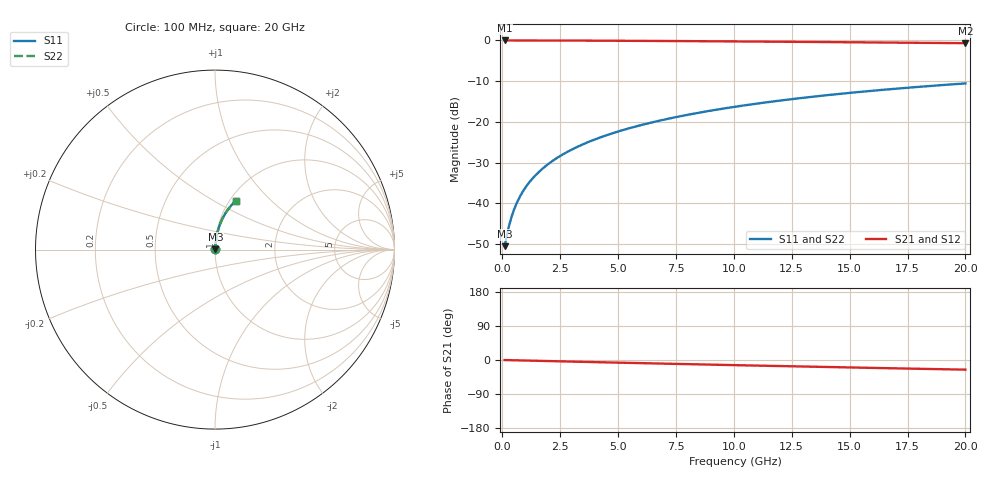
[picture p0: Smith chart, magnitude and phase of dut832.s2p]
! Touchstone file exported from HFSS 2024.1.0
!  File:  C:/UserFiles/LocalFiles/RDL_TSV_Batchsim/temp_RDL_top_832_1779854979.aedt
!  Generated:  12:11:56 PM May 27, 2026
!  Design:  RDL_top
!  Project:  temp_RDL_top_832_1779854979
!  Setup:  Setup1
!  Solution:  Sweep
! Variables:
!  dtsv = 10.80580581um
!  hbump = 3um
!  htsv = 84.84um
!  ldown = 100um
!  lrdl = 323.9um
!  p = 40
!  p1 = 41.54um
!  rhole = 1um
!  t = 450um
!  tdown = 3.915915916um
!  trdl = 3.6um
!  wdown = 15.38538539um
!  wrdl = 13.39um
# GHz S MA R 50.000000
! Terminal data exported
! Port[1] = Box2_T1
! Port[2] = Box2_T2
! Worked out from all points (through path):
!   200 points, 100 MHz to 20 GHz, reference 50 ohm
!   highest |S21| = -0.02 dB at 100 MHz (marker M1); lowest = -0.7 dB at 20 GHz (marker M2)
!   group delay of S21, straight-line fit = 3.53 ps
!   lowest |S11| = -50.5 dB at 100 MHz (marker M3), VSWR 1.01, Z = 50.3 + j0.16 ohm
!   |S11| at or under -10 dB: start of sweep to end of sweep
!   |S22| runs from -50.5 to -10.6 dB; largest |S21 - S12| = 2.6e-15
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0.1  0.002976 32.4  0.9975 -0.1  0.9975 -0.1  0.002976 32.4
! Gamma 0 0 0 0
! Port Impedance 50 0 50 0
0.2  0.004078 51.1  0.9974 -0.3  0.9974 -0.3  0.004078 51.1
0.3  0.005412 60.9  0.9974 -0.4  0.9974 -0.4  0.005412 60.9
0.4  0.006824 66.6  0.9973 -0.6  0.9973 -0.6  0.006823 66.6
0.5  0.008265 70.3  0.9972 -0.7  0.9972 -0.7  0.008265 70.3
0.6  0.00972 72.9  0.9971 -0.9  0.9971 -0.9  0.009719 72.9
0.8  0.01265 76.3  0.997 -1.1  0.997 -1.1  0.01265 76.3
1.1  0.01709 79.2  0.9967 -1.6  0.9967 -1.6  0.01709 79.2
1.3  0.02006 80.4  0.9965 -1.9  0.9965 -1.9  0.02006 80.4
1.6  0.02455 81.6  0.9962 -2.3  0.9962 -2.3  0.02455 81.6
2.1  0.03206 82.7  0.9956 -3.0  0.9956 -3.0  0.03206 82.7
2.7  0.04111 83.2  0.9946 -3.8  0.9946 -3.8  0.04111 83.2
3.5  0.05323 83.4  0.993 -4.9  0.993 -4.9  0.05323 83.4
4.2  0.06387 83.2  0.9913 -5.9  0.9913 -5.9  0.06387 83.2
5  0.07606 82.8  0.9892 -7.0  0.9892 -7.0  0.07606 82.8
5.9  0.08979 82.1  0.9864 -8.2  0.9864 -8.2  0.0898 82.1
6.8  0.1035 81.4  0.9834 -9.4  0.9834 -9.4  0.1036 81.4
8.3  0.1265 80.0  0.9779 -11.4  0.9779 -11.4  0.1265 80.0
10.1  0.1539 78.2  0.9706 -13.7  0.9706 -13.7  0.1539 78.2
13.4  0.2032 74.5  0.9561 -17.8  0.9561 -17.8  0.2033 74.5
16.7  0.2509 70.8  0.9403 -21.7  0.9403 -21.7  0.2509 70.8
20  0.2961 67.0  0.9236 -25.5  0.9236 -25.5  0.2961 67.0
